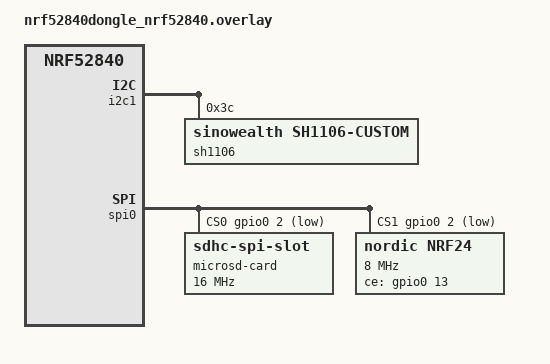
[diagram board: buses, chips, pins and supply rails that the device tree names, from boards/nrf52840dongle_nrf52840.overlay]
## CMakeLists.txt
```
# SPDX-License-Identifier: Apache-2.0

cmake_minimum_required(VERSION 3.20.0)

get_filename_component(OOT_MODULE_DIR "${CMAKE_CURRENT_LIST_DIR}/../.." REALPATH)
list(APPEND EXTRA_ZEPHYR_MODULES "${OOT_MODULE_DIR}")

find_package(Zephyr REQUIRED HINTS $ENV{ZEPHYR_BASE})
project(peripheral_demo)

FILE(GLOB app_sources src/*.c)
target_sources(app PRIVATE
  ${app_sources}
  )
```

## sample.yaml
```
sample:
  name: BLE peripheral with SH1106 display
  description: Custom Bluetooth peripheral sample that mirrors connection and write events on an SH1106 OLED
tests:
  sample.oot.ble_peripheral_display:
    build_only: true
    platform_allow:
      - esp32c6_custom/esp32c6/hpcore
      - nrf52840dongle/nrf52840
    tags:
      - bluetooth
      - display
```

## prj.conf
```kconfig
CONFIG_BT=y
#CONFIG_LOG=y
CONFIG_BT_SMP=y
CONFIG_BT_PERIPHERAL=y
CONFIG_BT_DEVICE_NAME="ESP-32 BLE"
CONFIG_BT_DEVICE_APPEARANCE=833
CONFIG_DISPLAY=y
CONFIG_I2C=y
CONFIG_OLED_SH1106=y
CONFIG_SH1106_GFX=y
CONFIG_CONSOLE=y
CONFIG_SERIAL=y
#CONFIG_USB_DEVICE_STACK=y
#CONFIG_USB_DEVICE_PRODUCT="Surya's USB dongle"
#CONFIG_USB_DEVICE_PID=0x0004
#CONFIG_USB_DEVICE_INITIALIZE_AT_BOOT=y
#CONFIG_UART_CONSOLE=y
```

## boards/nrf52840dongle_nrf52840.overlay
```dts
&i2c1 {
    status = "okay";
    sh1106:sh1106@3c{
        compatible="sinowealth,sh1106-custom";
        status="okay";
        reg=<0x3c>;
    }; 
};

&i2c0 {
    status = "disabled";
};

&spi1 {
    status = "disabled";
};

&spi0 {
    status = "okay";
    cs-gpios = < &gpio0 2 GPIO_ACTIVE_LOW >,< &gpio0 2 GPIO_ACTIVE_LOW >;
    microsd:microsd@0{
     compatible ="zephyr,sdhc-spi-slot";
     spi-max-frequency= <16000000>;
     status="okay";
     reg = <0>;
     label = "microsd-card";
    };

    nrf24:nrf24@1{
        compatible="nordic,nrf24";
        reg=<1>;
        spi-max-frequency=<8000000>;
        ce-gpios=<&gpio0 13 GPIO_ACTIVE_HIGH>;
        status="okay";
        label = "nrf24";
    };
};
```

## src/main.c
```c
/* main.c - Application main entry point */

/*
 * Copyright (c) 2015-2016 Intel Corporation
 *
 * SPDX-License-Identifier: Apache-2.0
 */

#include <zephyr/types.h>
#include <stddef.h>
#include <string.h>
#include <errno.h>
#include <zephyr/sys/printk.h>
#include <zephyr/sys/byteorder.h>
#include <zephyr/kernel.h>
#include <zephyr/device.h>

#include <zephyr/bluetooth/bluetooth.h>
#include <zephyr/bluetooth/hci.h>
#include <zephyr/bluetooth/conn.h>
#include <zephyr/bluetooth/uuid.h>
#include <zephyr/bluetooth/gatt.h>
#include <zephyr/drivers/gpio.h>
#include <zephyr_oot/subsys/sh1106_gfx.h>
const struct device *sh1106 = DEVICE_DT_GET(DT_NODELABEL(sh1106));


//static const struct gpio_dt_spec adv_led = GPIO_DT_SPEC_GET(DT_ALIAS(led0), gpios);
//static const struct gpio_dt_spec conn_led = GPIO_DT_SPEC_GET(DT_ALIAS(led2), gpios);

/* Custom Service Variables */
#define BT_UUID_CUSTOM_SERVICE_VAL \
	BT_UUID_128_ENCODE(0x12345678, 0x1234, 0x5678, 0x1234, 0x56789abcdef0)

static struct bt_uuid_128 my_uuid = BT_UUID_INIT_128(
	BT_UUID_CUSTOM_SERVICE_VAL);

static struct bt_uuid_128 chrc1_uuid = BT_UUID_INIT_128(
	BT_UUID_128_ENCODE(0x12345678, 0x1234, 0x5678, 0x1234, 0x56789abcdef2));

static struct bt_uuid_128 chrc2_uuid = BT_UUID_INIT_128(
	BT_UUID_128_ENCODE(0x12345678, 0x1234, 0x5678, 0x1234, 0x56789abcdef1));

static uint8_t chrc1_val[23] = {0};
static uint8_t chrc2_val[23] = {0};
static uint8_t notif_cnt;

void set_conn_led()
{
	//gpio_pin_set_dt(&conn_led, 1);
	//gpio_pin_set_dt(&adv_led, 0);
}

void set_adv_led()
{
	//gpio_pin_set_dt(&adv_led, 1);
	//gpio_pin_set_dt(&conn_led, 0);
}

static void my_ccc_cfg_changed(const struct bt_gatt_attr *attr,
							   uint16_t value)
{
	ARG_UNUSED(attr);

	bool notif_enabled = (value == BT_GATT_CCC_NOTIFY);

	printk("Indications %s\n", notif_enabled ? "enabled" : "disabled");
}

static ssize_t on_read_chrc1(struct bt_conn *conn,
							 const struct bt_gatt_attr *attr, void *buf,
							 uint16_t len, uint16_t offset)
{
	printk("Value read!\n");

	return bt_gatt_attr_read(conn, attr, buf, len, offset, chrc1_val,
							 strlen(chrc1_val));
}

static inline void oled_disp(const char *msg)
{

	oled_clearDisplay(sh1106);
	oled_printString(sh1106, msg, 0, 0, 6, 0);
	oled_display(sh1106);
}

static ssize_t on_write_chrc2(struct bt_conn *conn, const struct bt_gatt_attr *attr,
							  const void *buf, uint16_t len, uint16_t offset,
							  uint8_t flags)
{
	char *value = attr->user_data;
	memcpy(value + offset, buf, len);
	value[offset + len] = 0;
	printk("received=%s\n", value);
	oled_printLog(sh1106, value);
	oled_display(sh1106);

	return len;
}

static const struct bt_data ad[] = {
	BT_DATA_BYTES(BT_DATA_FLAGS, (BT_LE_AD_GENERAL | BT_LE_AD_NO_BREDR)),
	BT_DATA_BYTES(BT_DATA_UUID128_ALL, BT_UUID_CUSTOM_SERVICE_VAL)};

BT_GATT_SERVICE_DEFINE(my_svc,
					   BT_GATT_PRIMARY_SERVICE(&my_uuid),
					   BT_GATT_CHARACTERISTIC(&chrc2_uuid.uuid,
											  BT_GATT_CHRC_WRITE,
											  BT_GATT_PERM_WRITE,
											  NULL, on_write_chrc2, chrc2_val),
					   BT_GATT_CHARACTERISTIC(&chrc1_uuid.uuid,
											  (BT_GATT_CHRC_READ | BT_GATT_CHRC_NOTIFY),
											  BT_GATT_PERM_READ,
											  on_read_chrc1, NULL, chrc1_val),
					   BT_GATT_CCC(my_ccc_cfg_changed,
								   BT_GATT_PERM_READ | BT_GATT_PERM_WRITE));

static void connected(struct bt_conn *conn, uint8_t err)
{
	if (err)
	{
		printk("Connection failed (err 0x%02x)\n", err);
		oled_disp("Connection failed!");
	}
	else
	{
		set_conn_led();
		printk("Connected\n");
		oled_disp("BLE Connected :)");
		oled_clearDisplay(sh1106);
	}
}

static void disconnected(struct bt_conn *conn, uint8_t reason)
{
	printk("Disconnected (reason 0x%02x)\n", reason);
	set_adv_led();
	oled_disp("BLE Disconnected :(");
	oled_clearDisplay(sh1106);
}

BT_CONN_CB_DEFINE(conn_callbacks) = {
	.connected = connected,
	.disconnected = disconnected,
};

static void bt_ready(void)
{
	int err;

	printk("Bluetooth initialized\n");

	err = bt_le_adv_start(BT_LE_ADV_CONN_NAME, ad, ARRAY_SIZE(ad), NULL, 0);
	if (err)
	{
		printk("Advertising failed to start (err %d)\n", err);
		return;
	}

	printk("Advertising successfully started\n");
	set_adv_led();
}

static void auth_cancel(struct bt_conn *conn)
{
	char addr[BT_ADDR_LE_STR_LEN];

	bt_addr_le_to_str(bt_conn_get_dst(conn), addr, sizeof(addr));

	printk("Pairing cancelled: %s\n", addr);
}

static struct bt_conn_auth_cb auth_cb_display = {
	.cancel = auth_cancel,
};


int chrc1_notify(uint8_t level)
{
	int rc;
	sprintf(chrc1_val, "Notification-ESP32=%d", level);
	rc=bt_gatt_notify(NULL,&my_svc.attrs[4],chrc1_val,strlen(chrc1_val));
	return rc == -ENOTCONN ? 0 : rc;
}

int main(void)
{
	int err;
   /*
	if (!gpio_is_ready_dt(&adv_led))
		return 0;
	err = gpio_pin_configure_dt(&adv_led, GPIO_OUTPUT_INACTIVE);
	if (err < 0)
		return 0;
		*/
    /*
	if (!gpio_is_ready_dt(&conn_led))
		return 0;
	err = gpio_pin_configure_dt(&conn_led, GPIO_OUTPUT_INACTIVE);
	if (err < 0)
		return 0;
    */
	if (!device_is_ready(sh1106))
	{
		printk("Failed to initialize sh1106 display\n");
		while (1)
			;
	}
	oled_displayOn(sh1106);
	oled_disp("BLE Advertising!");

	err = bt_enable(NULL);
	if (err)
	{
		printk("Bluetooth init failed (err %d)\n", err);
		return 0;
	}

	bt_ready();

	bt_conn_auth_cb_register(&auth_cb_display);

	/* Implement notification. At the moment there is no suitable way
	 * of starting delayed work so we do it here
	 */
	while (1)
	{
		chrc1_notify(notif_cnt++);
		k_sleep(K_MSEC(1500));
	}
	return 0;
}
```
